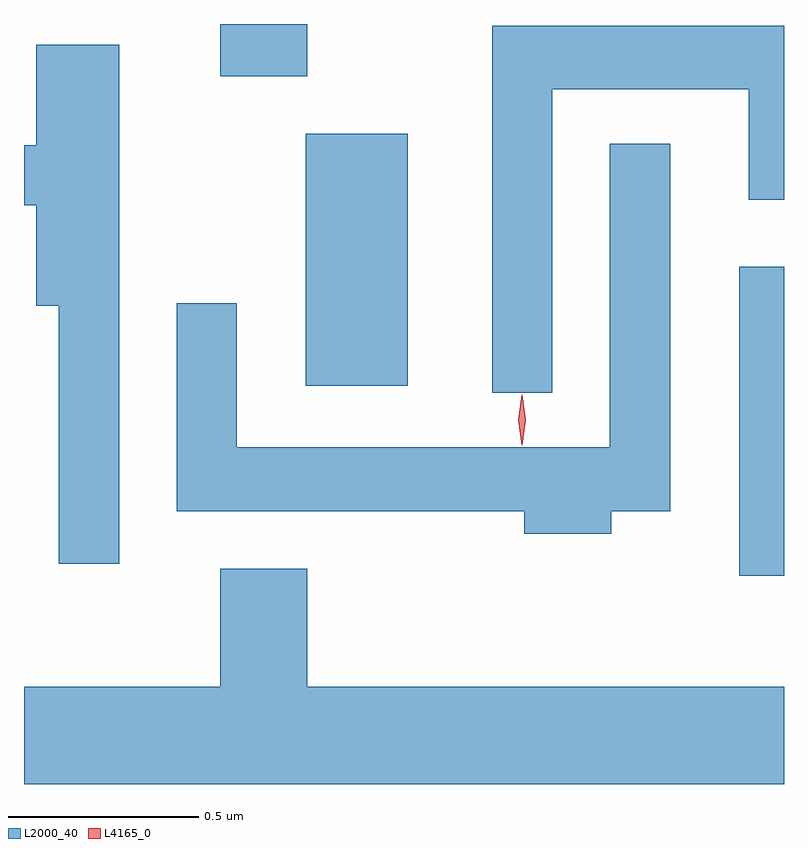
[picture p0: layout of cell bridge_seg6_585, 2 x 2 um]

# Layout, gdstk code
import gdstk
lib = gdstk.Library(unit=1e-6, precision=1e-09)
def R(c, l, rs):  # rectangles x0, y0, x1, y1
    for r in rs: c.add(gdstk.rectangle(r[:2], r[2:], *l))
def P(c, l, *ps):  # polygons
    for p in ps: c.add(gdstk.Polygon(p, *l))
L2000_40 = (2000, 40)
L4165_0 = (4165, 0)

bridge_seg6_585 = lib.new_cell('bridge_seg6_585')
R(bridge_seg6_585, L2000_40, [(504.266,1650.496,504.384,1651.309), (503.126,1650.996,503.394,1651.659), (502.901,1651.811,503.129,1651.948)])
P(bridge_seg6_585, L2000_40, [(503.774,1651.776),(504.291,1651.776),(504.291,1651.486),(504.384,1651.486),(504.384,1651.944),(503.616,1651.944),(503.616,1650.978),(503.774,1650.978)],
  [(502.634,1651.894),(502.416,1651.894),(502.416,1651.629),(502.384,1651.629),(502.384,1651.471),(502.416,1651.471),(502.416,1651.206),(502.476,1651.206),(502.476,1650.528),(502.634,1650.528)],
  [(503.929,1650.666),(504.084,1650.666),(504.084,1651.633),(503.926,1651.633),(503.926,1650.834),(502.944,1650.834),(502.944,1651.213),(502.786,1651.213),(502.786,1650.666),(503.701,1650.666),(503.701,1650.606),(503.929,1650.606)],
  [(504.384,1650.204),(503.129,1650.204),(503.129,1650.514),(502.901,1650.514),(502.901,1650.204),(502.384,1650.204),(502.384,1649.948),(504.384,1649.948)])
P(bridge_seg6_585, L4165_0, [(503.695,1650.839),(503.694,1650.84),(503.685,1650.906),(503.694,1650.972),(503.695,1650.973),(503.695,1650.972),(503.705,1650.906),(503.695,1650.84)])

lib.write_gds('bridge_seg6_585.gds')
